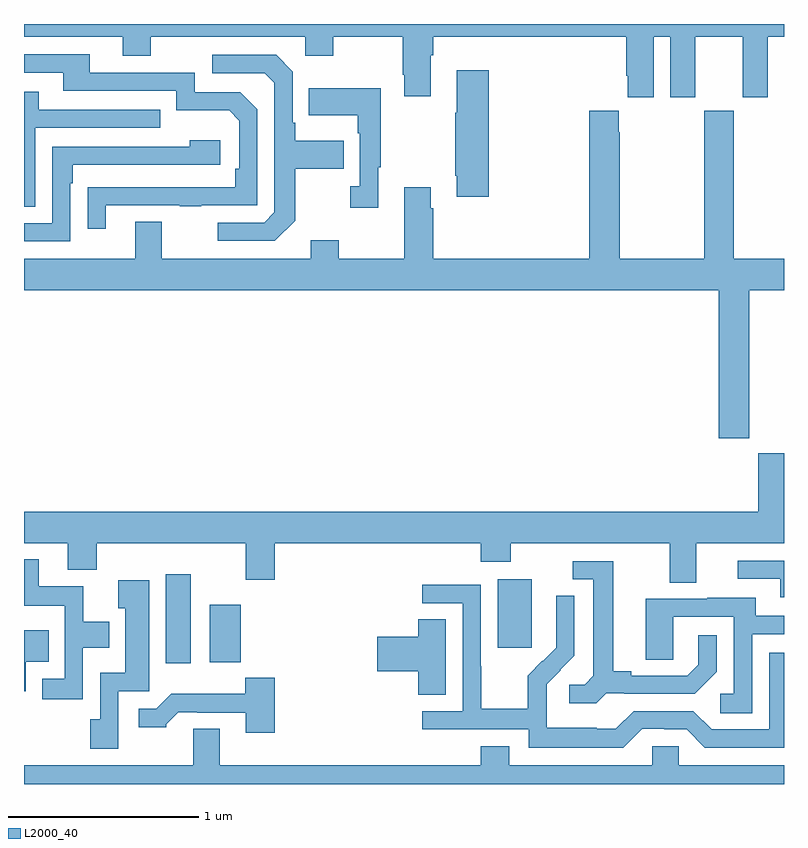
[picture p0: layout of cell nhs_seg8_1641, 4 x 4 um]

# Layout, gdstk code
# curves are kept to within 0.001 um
import gdstk
lib = gdstk.Library(unit=1e-6, precision=1e-09)
def R(c, l, rs):  # rectangles x0, y0, x1, y1
    for r in rs: c.add(gdstk.rectangle(r[:2], r[2:], *l))
def P(c, l, *ps):  # polygons
    for p in ps: c.add(gdstk.Polygon(p, *l))
L2000_40 = (2000, 40)

nhs_seg8_1641 = lib.new_cell('nhs_seg8_1641')
R(nhs_seg8_1641, L2000_40, [(215.747,1114.536,215.878,1115.005), (217.493,1114.617,217.672,1114.978)])
P(nhs_seg8_1641, L2000_40, [(218.314,1117.832),(218.402,1117.832),(218.402,1117.515),(218.533,1117.515),(218.533,1117.832),(218.783,1117.832),(218.783,1117.515),(218.914,1117.515),(218.914,1117.832),(219,1117.832),(219,1117.9),(215,1117.9),(215,1117.832),(215.519,1117.832),(215.519,1117.733),(215.667,1117.733),(215.667,1117.832),(216.48,1117.832),(216.48,1117.733),(216.627,1117.733),(216.627,1117.832),(216.994,1117.832),(216.994,1117.633),(217.001,1117.633),(217.001,1117.521),(217.141,1117.521),(217.141,1117.736),(217.154,1117.736),(217.154,1117.832),(218.171,1117.832),(218.171,1117.627),(218.177,1117.627),(218.177,1117.515),(218.314,1117.515)],
  [(215.431,1116.945),(215.821,1116.945),(215.821,1116.94),(215.933,1116.94),(215.933,1116.945),(216.228,1116.945),(216.228,1117.452),(216.138,1117.542),(215.898,1117.542),(215.898,1117.644),(215.347,1117.644),(215.347,1117.74),(215,1117.74),(215,1117.644),(215.207,1117.644),(215.207,1117.548),(215.802,1117.548),(215.802,1117.445),(216.079,1117.445),(216.132,1117.392),(216.132,1117.138),(216.112,1117.138),(216.112,1117.041),(215.335,1117.04),(215.335,1116.822),(215.431,1116.822)],
  [(216.427,1116.865),(216.427,1117.138),(216.683,1117.138),(216.683,1117.285),(216.427,1117.285),(216.427,1117.381),(216.414,1117.381),(216.414,1117.65),(216.327,1117.737),(215.991,1117.737),(215.991,1117.641),(216.267,1117.641),(216.318,1117.59),(216.318,1116.909),(216.264,1116.855),(216.021,1116.855),(216.021,1116.759),(216.321,1116.759)],
  [(217.445,1117.657),(217.277,1117.657),(217.277,1117.433),(217.27,1117.433),(217.27,1117.102),(217.277,1117.102),(217.277,1116.99),(217.445,1116.99)],
  [(216.865,1117.145),(216.877,1117.145),(216.877,1117.561),(216.499,1117.561),(216.499,1117.421),(216.756,1117.421),(216.756,1117.325),(216.768,1117.325),(216.768,1117.046),(216.717,1117.046),(216.717,1116.933),(216.865,1116.933)],
  [(215.058,1117.353),(215.717,1117.353),(215.717,1117.449),(215.077,1117.449),(215.077,1117.543),(215,1117.543),(215,1116.937),(215.058,1116.937)],
  [(218.817,1116.5),(219,1116.5),(219,1116.664),(218.736,1116.664),(218.736,1117.444),(218.581,1117.444),(218.581,1116.664),(218.136,1116.664),(218.136,1117.331),(218.131,1117.331),(218.131,1117.444),(217.976,1117.444),(217.976,1116.664),(217.154,1116.664),(217.154,1116.929),(217.141,1116.929),(217.141,1117.042),(217.001,1117.042),(217.001,1116.664),(216.657,1116.664),(216.657,1116.763),(216.509,1116.763),(216.509,1116.664),(215.725,1116.664),(215.725,1116.859),(215.585,1116.859),(215.585,1116.664),(215,1116.664),(215,1116.5),(218.657,1116.5),(218.657,1115.721),(218.817,1115.721)],
  [(215.244,1117.061),(215.257,1117.061),(215.257,1117.158),(216.034,1117.158),(216.034,1117.288),(215.873,1117.288),(215.873,1117.254),(215.148,1117.254),(215.148,1116.852),(215,1116.852),(215,1116.756),(215.244,1116.756)],
  [(218.539,1115.168),(219,1115.168),(219,1115.641),(218.864,1115.641),(218.864,1115.332),(215,1115.332),(215,1115.168),(215.231,1115.168),(215.231,1115.027),(215.384,1115.027),(215.384,1115.168),(216.167,1115.168),(216.167,1114.974),(216.32,1114.974),(216.32,1115.168),(217.403,1115.168),(217.403,1115.069),(217.563,1115.069),(217.563,1115.168),(218.399,1115.168),(218.399,1114.96),(218.539,1114.96)],
  [(215.31,1114.616),(215.449,1114.616),(215.449,1114.755),(215.312,1114.755),(215.312,1114.942),(215.077,1114.942),(215.077,1115.083),(215,1115.083),(215,1114.838),(215.214,1114.838),(215.214,1114.455),(215.097,1114.455),(215.097,1114.347),(215.31,1114.347)],
  [(219,1115.076),(218.757,1115.076),(218.757,1114.98),(218.981,1114.98),(218.981,1114.884),(219,1114.884)],
  [(218.064,1114.377),(218.158,1114.377),(218.158,1114.374),(218.53,1114.374),(218.646,1114.49),(218.646,1114.684),(218.549,1114.684),(218.549,1114.527),(218.492,1114.47),(218.197,1114.47),(218.197,1114.493),(218.101,1114.493),(218.101,1115.073),(217.887,1115.073),(217.887,1114.977),(217.997,1114.977),(217.997,1114.469),(217.95,1114.422),(217.869,1114.422),(217.869,1114.325),(218.012,1114.325)],
  [(215.496,1114.389),(215.659,1114.389),(215.659,1114.972),(215.495,1114.972),(215.495,1114.826),(215.534,1114.826),(215.534,1114.486),(215.4,1114.486),(215.4,1114.242),(215.348,1114.242),(215.348,1114.086),(215.496,1114.086)],
  [(218.253,1114.191),(218.369,1114.191),(218.369,1114.188),(218.487,1114.188),(218.583,1114.092),(219,1114.092),(219,1114.59),(218.922,1114.59),(218.922,1114.188),(218.619,1114.188),(218.523,1114.284),(218.208,1114.284),(218.115,1114.191),(218.015,1114.191),(218.015,1114.195),(217.752,1114.195),(217.752,1114.329),(217.75,1114.329),(217.75,1114.426),(217.896,1114.574),(217.896,1114.892),(217.8,1114.892),(217.8,1114.738),(217.802,1114.738),(217.802,1114.616),(217.731,1114.545),(217.728,1114.548),(217.651,1114.471),(217.651,1114.297),(217.407,1114.297),(217.407,1114.52),(217.404,1114.52),(217.404,1114.95),(217.095,1114.95),(217.095,1114.851),(217.308,1114.851),(217.308,1114.284),(217.095,1114.284),(217.095,1114.188),(217.656,1114.188),(217.656,1114.091),(218.153,1114.091)],
  [(218.832,1114.689),(219,1114.689),(219,1114.785),(218.851,1114.785),(218.851,1114.879),(218.597,1114.879),(218.597,1114.875),(218.273,1114.875),(218.273,1114.555),(218.418,1114.555),(218.418,1114.779),(218.736,1114.779),(218.736,1114.374),(218.664,1114.374),(218.664,1114.273),(218.832,1114.273)],
  [(216.14,1114.689),(216.142,1114.689),(216.142,1114.843),(215.978,1114.843),(215.978,1114.541),(216.14,1114.541)],
  [(217.219,1114.766),(217.076,1114.766),(217.076,1114.676),(216.858,1114.676),(216.858,1114.493),(217.076,1114.493),(217.076,1114.369),(217.219,1114.369)],
  [(215.008,1114.544),(215.129,1114.544),(215.129,1114.708),(215,1114.708),(215,1114.387),(215.008,1114.387)],
  [(216.32,1114.459),(216.165,1114.459),(216.165,1114.375),(215.776,1114.375),(215.697,1114.296),(215.604,1114.296),(215.604,1114.199),(215.748,1114.199),(215.748,1114.214),(215.812,1114.278),(215.911,1114.278),(215.911,1114.275),(216.167,1114.275),(216.167,1114.17),(216.32,1114.17)],
  [(219,1114),(218.445,1114),(218.445,1114.098),(218.307,1114.098),(218.307,1114),(217.555,1114),(217.555,1114.099),(217.403,1114.099),(217.403,1114),(216.031,1114),(216.031,1114.19),(215.891,1114.19),(215.891,1114),(215,1114),(215,1113.9),(219,1113.9)])

lib.write_gds('nhs_seg8_1641.gds')
